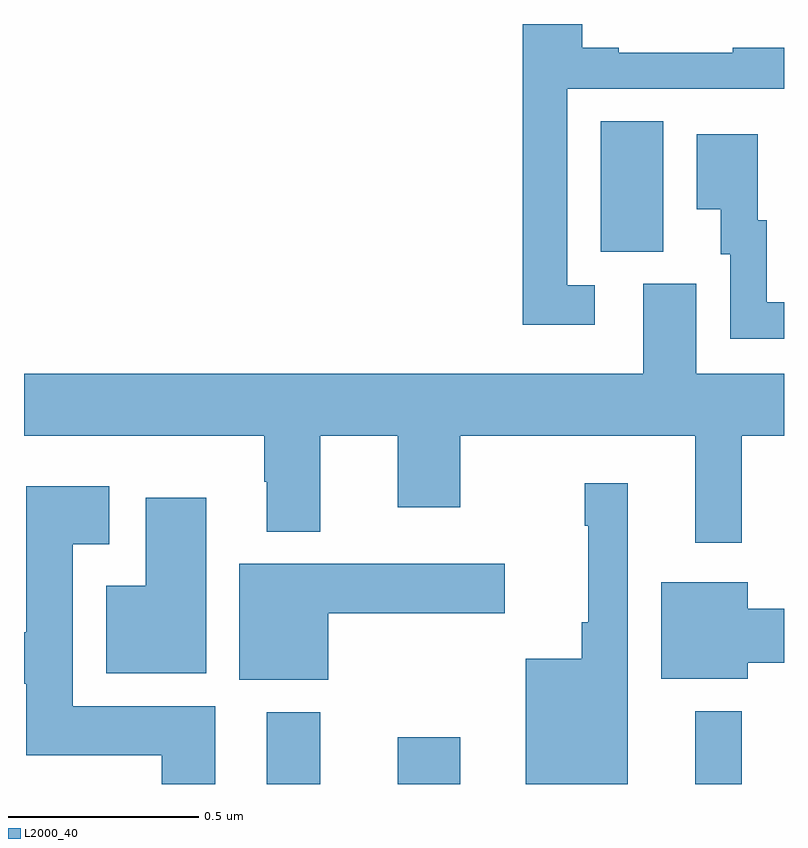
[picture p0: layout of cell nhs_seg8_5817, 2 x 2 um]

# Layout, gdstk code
import gdstk
lib = gdstk.Library(unit=1e-6, precision=1e-09)
def R(c, l, rs):  # rectangles x0, y0, x1, y1
    for r in rs: c.add(gdstk.rectangle(r[:2], r[2:], *l))
def P(c, l, *ps):  # polygons
    for p in ps: c.add(gdstk.Polygon(p, *l))
L2000_40 = (2000, 40)

nhs_seg8_5817 = lib.new_cell('nhs_seg8_5817')
R(nhs_seg8_5817, L2000_40, [(188.639,1132.9,188.779,1133.089), (188.984,1132.9,189.148,1133.023), (189.767,1132.9,189.889,1133.092), (189.518,1134.301,189.682,1134.644)])
P(nhs_seg8_5817, L2000_40, [(189.502,1134.213),(189.429,1134.213),(189.429,1134.729),(190,1134.729),(190,1134.838),(189.865,1134.838),(189.865,1134.825),(189.565,1134.825),(189.565,1134.838),(189.469,1134.838),(189.469,1134.9),(189.313,1134.9),(189.313,1134.108),(189.502,1134.108)],
  [(190,1134.168),(189.955,1134.168),(189.955,1134.384),(189.931,1134.384),(189.931,1134.61),(189.77,1134.61),(189.77,1134.413),(189.833,1134.413),(189.833,1134.294),(189.858,1134.294),(189.858,1134.072),(190,1134.072)],
  [(189.889,1133.816),(190,1133.816),(190,1133.98),(189.769,1133.98),(189.769,1134.216),(189.629,1134.216),(189.629,1133.98),(188,1133.98),(188,1133.816),(188.632,1133.816),(188.632,1133.696),(188.639,1133.696),(188.639,1133.564),(188.779,1133.564),(188.779,1133.816),(188.984,1133.816),(188.984,1133.628),(189.148,1133.628),(189.148,1133.816),(189.767,1133.816),(189.767,1133.535),(189.889,1133.535)],
  [(189.589,1133.692),(189.475,1133.692),(189.475,1133.579),(189.485,1133.579),(189.485,1133.326),(189.468,1133.326),(189.468,1133.23),(189.32,1133.23),(189.32,1132.9),(189.589,1132.9)],
  [(188.503,1133.104),(188.128,1133.104),(188.128,1133.531),(188.224,1133.531),(188.224,1133.683),(188.006,1133.683),(188.006,1133.3),(188,1133.3),(188,1133.164),(188.006,1133.164),(188.006,1132.976),(188.363,1132.976),(188.363,1132.9),(188.503,1132.9)],
  [(188.479,1133.653),(188.321,1133.653),(188.321,1133.422),(188.216,1133.422),(188.216,1133.192),(188.479,1133.192)],
  [(188.8,1133.35),(189.265,1133.35),(189.265,1133.479),(188.567,1133.479),(188.567,1133.174),(188.8,1133.174)],
  [(189.904,1133.219),(190,1133.219),(190,1133.361),(189.904,1133.361),(189.904,1133.431),(189.677,1133.431),(189.677,1133.177),(189.904,1133.177)])

lib.write_gds('nhs_seg8_5817.gds')
